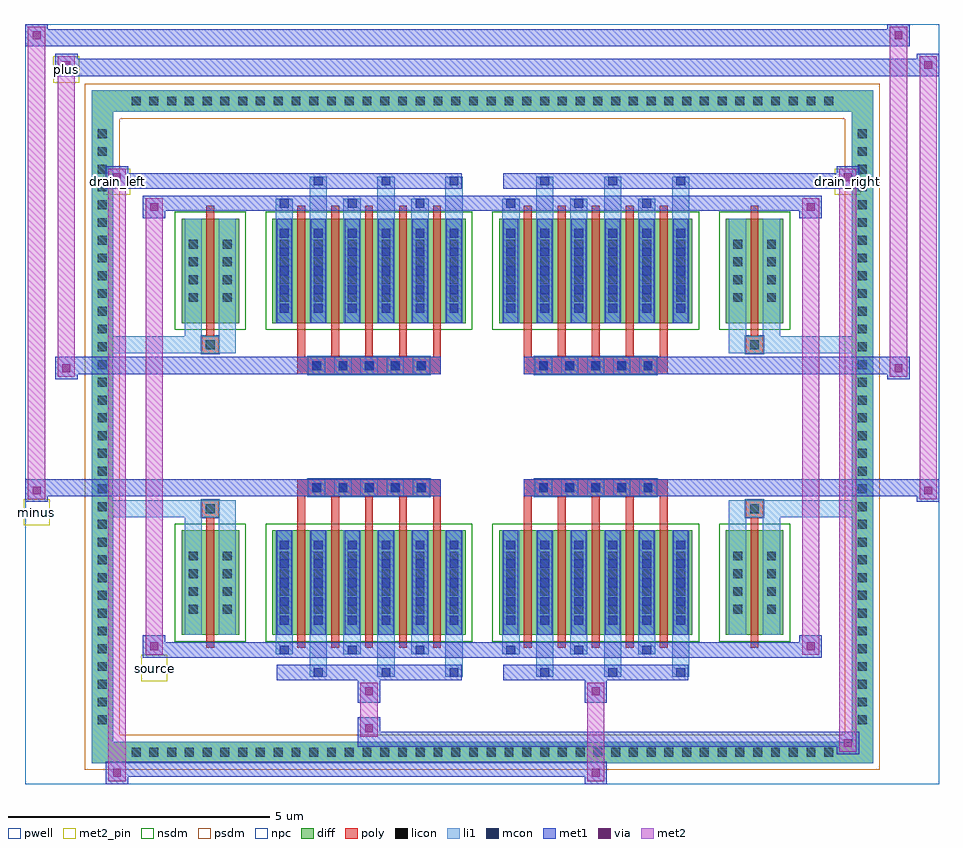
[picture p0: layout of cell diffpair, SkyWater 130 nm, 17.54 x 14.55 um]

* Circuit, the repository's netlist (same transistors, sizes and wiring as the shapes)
* NGSPICE file created from diffpair.ext - technology: sky130A

.subckt diffpair minus drain_right drain_left source plus
X0 drain_left plus source a_n1496_n1288# sky130_fd_pr__nfet_01v8 ad=0.95 pd=4.95 as=0.5 ps=2.5 w=2 l=0.15
X1 a_n1496_n1288# a_n1496_n1288# a_n1496_n1288# a_n1496_n1288# sky130_fd_pr__nfet_01v8 ad=0.95 pd=4.95 as=7.6 ps=39.6 w=2 l=0.15
X2 drain_right minus source a_n1496_n1288# sky130_fd_pr__nfet_01v8 ad=0.5 pd=2.5 as=0.95 ps=4.95 w=2 l=0.15
X3 drain_right minus source a_n1496_n1288# sky130_fd_pr__nfet_01v8 ad=0.95 pd=4.95 as=0.5 ps=2.5 w=2 l=0.15
X4 source plus drain_left a_n1496_n1288# sky130_fd_pr__nfet_01v8 ad=0.5 pd=2.5 as=0.5 ps=2.5 w=2 l=0.15
X5 drain_left plus source a_n1496_n1288# sky130_fd_pr__nfet_01v8 ad=0.5 pd=2.5 as=0.5 ps=2.5 w=2 l=0.15
X6 a_n1496_n1288# a_n1496_n1288# a_n1496_n1288# a_n1496_n1288# sky130_fd_pr__nfet_01v8 ad=0.95 pd=4.95 as=0 ps=0 w=2 l=0.15
X7 a_n1496_n1288# a_n1496_n1288# a_n1496_n1288# a_n1496_n1288# sky130_fd_pr__nfet_01v8 ad=0.95 pd=4.95 as=0 ps=0 w=2 l=0.15
X8 a_n1496_n1288# a_n1496_n1288# a_n1496_n1288# a_n1496_n1288# sky130_fd_pr__nfet_01v8 ad=0.95 pd=4.95 as=0 ps=0 w=2 l=0.15
X9 source minus drain_right a_n1496_n1288# sky130_fd_pr__nfet_01v8 ad=0.5 pd=2.5 as=0.5 ps=2.5 w=2 l=0.15
X10 source minus drain_right a_n1496_n1288# sky130_fd_pr__nfet_01v8 ad=0.5 pd=2.5 as=0.5 ps=2.5 w=2 l=0.15
X11 drain_right minus source a_n1496_n1288# sky130_fd_pr__nfet_01v8 ad=0.5 pd=2.5 as=0.5 ps=2.5 w=2 l=0.15
X12 drain_right minus source a_n1496_n1288# sky130_fd_pr__nfet_01v8 ad=0.5 pd=2.5 as=0.95 ps=4.95 w=2 l=0.15
X13 drain_right minus source a_n1496_n1288# sky130_fd_pr__nfet_01v8 ad=0.95 pd=4.95 as=0.5 ps=2.5 w=2 l=0.15
X14 source minus drain_right a_n1496_n1288# sky130_fd_pr__nfet_01v8 ad=0.5 pd=2.5 as=0.5 ps=2.5 w=2 l=0.15
X15 source minus drain_right a_n1496_n1288# sky130_fd_pr__nfet_01v8 ad=0.5 pd=2.5 as=0.5 ps=2.5 w=2 l=0.15
X16 source plus drain_left a_n1496_n1288# sky130_fd_pr__nfet_01v8 ad=0.5 pd=2.5 as=0.5 ps=2.5 w=2 l=0.15
X17 drain_left plus source a_n1496_n1288# sky130_fd_pr__nfet_01v8 ad=0.95 pd=4.95 as=0.5 ps=2.5 w=2 l=0.15
X18 drain_right minus source a_n1496_n1288# sky130_fd_pr__nfet_01v8 ad=0.5 pd=2.5 as=0.5 ps=2.5 w=2 l=0.15
X19 source plus drain_left a_n1496_n1288# sky130_fd_pr__nfet_01v8 ad=0.5 pd=2.5 as=0.5 ps=2.5 w=2 l=0.15
X20 drain_left plus source a_n1496_n1288# sky130_fd_pr__nfet_01v8 ad=0.5 pd=2.5 as=0.95 ps=4.95 w=2 l=0.15
X21 drain_left plus source a_n1496_n1288# sky130_fd_pr__nfet_01v8 ad=0.5 pd=2.5 as=0.5 ps=2.5 w=2 l=0.15
X22 source plus drain_left a_n1496_n1288# sky130_fd_pr__nfet_01v8 ad=0.5 pd=2.5 as=0.5 ps=2.5 w=2 l=0.15
X23 drain_left plus source a_n1496_n1288# sky130_fd_pr__nfet_01v8 ad=0.5 pd=2.5 as=0.95 ps=4.95 w=2 l=0.15
.ends

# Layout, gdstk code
import gdstk
lib = gdstk.Library(unit=1e-6, precision=5e-09)
def R(c, l, rs):  # rectangles x0, y0, x1, y1
    for r in rs: c.add(gdstk.rectangle(r[:2], r[2:], *l))
def A(c, l, x, y, w, h, nx, ny, dx, dy):  # array of equal rectangles
    R(c, l, [(x+i*dx, y+j*dy, x+i*dx+w, y+j*dy+h) for i in range(nx) for j in range(ny)])
def P(c, l, *ps):  # polygons
    for p in ps: c.add(gdstk.Polygon(p, *l))
pwell = (64, 44)
diff = (65, 20)
poly = (66, 20)
licon = (66, 44)
li1 = (67, 20)
mcon = (67, 44)
met1 = (68, 20)
via = (68, 44)
met2_pin = (69, 16)
met2 = (69, 20)
nsdm = (93, 44)
psdm = (94, 20)
npc = (95, 20)

diffpair = lib.new_cell('diffpair')
R(diffpair, pwell, [(-8.75,-6.84,8.75,7.71), (-6.07,-5.03,-0.01,-0.805), (0.01,-5.03,6.07,-0.805), (-6.07,0.805,-0.01,5.03), (0.01,0.805,6.07,5.03)])
A(diffpair, diff, -6.835, -6.44, 0.41, 0.41, 40, 2, 0.34, 12.47)
A(diffpair, diff, -7.48, -5.815, 0.41, 0.41, 1, 34, 0, 0.34)
A(diffpair, diff, 7.07, -5.815, 0.41, 0.41, 1, 34, 0, 0.34)
R(diffpair, diff, [(-6.835,-6.44,6.835,-6.03), (-7.48,-5.815,-7.07,5.815), (7.07,-5.815,7.48,5.815), (-5.76,-3.985,-4.66,-1.985), (-4.02,-3.985,-0.32,-1.985), (0.32,-3.985,4.02,-1.985), (4.66,-3.985,5.76,-1.985), (-5.76,1.985,-4.66,3.985), (-4.02,1.985,-0.32,3.985), (0.32,1.985,4.02,3.985), (4.66,1.985,5.76,3.985), (-6.835,6.03,6.835,6.44)])
P(diffpair, diff, [(7.48,6.44),(-7.48,6.44),(-7.48,-6.03),(-7.07,-6.03),(-7.07,6.03),(7.07,6.03),(7.07,-6.03),(-7.07,-6.03),(-7.48,-6.03),(-7.48,-6.44),(7.48,-6.44)])
A(diffpair, poly, -3.545, -4.235, 0.15, 2.5, 5, 2, 0.65, 5.97)
A(diffpair, poly, 0.795, -4.235, 0.15, 2.5, 5, 2, 0.65, 5.97)
A(diffpair, poly, -3.545, -1.735, 0.15, 0.4, 5, 2, 0.65, 3.07)
A(diffpair, poly, 0.795, -1.735, 0.15, 0.4, 5, 2, 0.65, 3.07)
A(diffpair, poly, -3.335, -1.335, 0.33, 0.33, 5, 2, 0.5, 2.34)
A(diffpair, poly, 1.005, -1.335, 0.33, 0.33, 5, 2, 0.5, 2.34)
R(diffpair, poly, [(-5.285,-4.235,-5.135,-1.735), (5.135,-4.235,5.285,-1.735), (-5.375,-1.735,-5.045,-1.405), (-5.375,-1.735,-5.045,-1.405), (5.045,-1.735,5.375,-1.405), (5.045,-1.735,5.375,-1.405), (-3.545,-1.335,-0.795,-1.005), (0.795,-1.335,3.545,-1.005), (-3.545,1.005,-0.795,1.335), (0.795,1.005,3.545,1.335), (-5.375,1.405,-5.045,1.735), (-5.375,1.405,-5.045,1.735), (5.045,1.405,5.375,1.735), (5.045,1.405,5.375,1.735), (-5.285,1.735,-5.135,4.235), (5.135,1.735,5.285,4.235)])
A(diffpair, licon, -6.715, -6.32, 0.17, 0.17, 40, 2, 0.34, 12.47)
A(diffpair, licon, -7.36, -5.695, 0.17, 0.17, 1, 34, 0, 0.34)
A(diffpair, licon, 7.19, -5.695, 0.17, 0.17, 1, 34, 0, 0.34)
A(diffpair, licon, -5.62, -3.58, 0.17, 0.17, 1, 4, 0, 0.34)
A(diffpair, licon, -4.97, -3.58, 0.17, 0.17, 1, 4, 0, 0.34)
A(diffpair, licon, -3.88, -3.58, 0.17, 0.17, 6, 4, 0.65, 0.34)
A(diffpair, licon, 0.46, -3.58, 0.17, 0.17, 6, 4, 0.65, 0.34)
A(diffpair, licon, 4.8, -3.58, 0.17, 0.17, 1, 4, 0, 0.34)
A(diffpair, licon, 5.45, -3.58, 0.17, 0.17, 1, 4, 0, 0.34)
A(diffpair, licon, -3.255, -1.255, 0.17, 0.17, 5, 2, 0.5, 2.34)
A(diffpair, licon, 1.085, -1.255, 0.17, 0.17, 5, 2, 0.5, 2.34)
A(diffpair, licon, -5.62, 2.39, 0.17, 0.17, 1, 4, 0, 0.34)
A(diffpair, licon, -4.97, 2.39, 0.17, 0.17, 1, 4, 0, 0.34)
A(diffpair, licon, -3.88, 2.39, 0.17, 0.17, 6, 4, 0.65, 0.34)
A(diffpair, licon, 0.46, 2.39, 0.17, 0.17, 6, 4, 0.65, 0.34)
A(diffpair, licon, 4.8, 2.39, 0.17, 0.17, 1, 4, 0, 0.34)
A(diffpair, licon, 5.45, 2.39, 0.17, 0.17, 1, 4, 0, 0.34)
R(diffpair, licon, [(-5.295,-1.655,-5.125,-1.485), (5.125,-1.655,5.295,-1.485), (-5.295,1.485,-5.125,1.655), (5.125,1.485,5.295,1.655)])
A(diffpair, li1, -6.795, -6.4, 0.33, 0.33, 40, 2, 0.34, 12.47)
A(diffpair, li1, -7.44, -5.775, 0.33, 0.33, 1, 34, 0, 0.34)
A(diffpair, li1, 7.11, -5.775, 0.33, 0.33, 1, 34, 0, 0.34)
A(diffpair, li1, -3.31, -4.79, 0.33, 0.805, 3, 2, 1.3, 8.775)
A(diffpair, li1, -3.23, -4.79, 0.17, 0.17, 3, 2, 1.3, 9.41)
A(diffpair, li1, 1.03, -4.79, 0.33, 0.805, 3, 2, 1.3, 8.775)
A(diffpair, li1, 1.11, -4.79, 0.17, 0.17, 3, 2, 1.3, 9.41)
A(diffpair, li1, -3.96, -4.36, 0.33, 0.375, 3, 2, 1.3, 8.345)
A(diffpair, li1, -3.88, -4.36, 0.17, 0.17, 3, 2, 1.3, 8.55)
A(diffpair, li1, 0.38, -4.36, 0.33, 0.375, 3, 2, 1.3, 8.345)
A(diffpair, li1, 0.46, -4.36, 0.17, 0.17, 3, 2, 1.3, 8.55)
A(diffpair, li1, -3.96, -3.985, 0.33, 2, 6, 2, 0.65, 5.97)
A(diffpair, li1, 0.38, -3.985, 0.33, 2, 6, 2, 0.65, 5.97)
A(diffpair, li1, -3.88, -3.79, 0.17, 0.17, 6, 5, 0.65, 0.36)
A(diffpair, li1, -3.88, -3.79, 0.17, 1.61, 6, 2, 0.65, 5.97)
A(diffpair, li1, 0.46, -3.79, 0.17, 0.17, 6, 5, 0.65, 0.36)
A(diffpair, li1, 0.46, -3.79, 0.17, 1.61, 6, 2, 0.65, 5.97)
A(diffpair, li1, -5.7, -3.66, 0.33, 0.33, 1, 4, 0, 0.34)
A(diffpair, li1, -5.05, -3.66, 0.33, 0.33, 1, 4, 0, 0.34)
A(diffpair, li1, -3.96, -3.66, 0.33, 0.33, 6, 4, 0.65, 0.34)
A(diffpair, li1, 0.38, -3.66, 0.33, 0.33, 6, 4, 0.65, 0.34)
A(diffpair, li1, 4.72, -3.66, 0.33, 0.33, 1, 4, 0, 0.34)
A(diffpair, li1, 5.37, -3.66, 0.33, 0.33, 1, 4, 0, 0.34)
A(diffpair, li1, -3.335, -1.335, 0.33, 0.33, 5, 2, 0.5, 2.34)
A(diffpair, li1, 1.005, -1.335, 0.33, 0.33, 5, 2, 0.5, 2.34)
A(diffpair, li1, -3.88, 2.18, 0.17, 0.17, 6, 5, 0.65, 0.36)
A(diffpair, li1, 0.46, 2.18, 0.17, 0.17, 6, 5, 0.65, 0.36)
A(diffpair, li1, -5.7, 2.31, 0.33, 0.33, 1, 4, 0, 0.34)
A(diffpair, li1, -5.05, 2.31, 0.33, 0.33, 1, 4, 0, 0.34)
A(diffpair, li1, -3.96, 2.31, 0.33, 0.33, 6, 4, 0.65, 0.34)
A(diffpair, li1, 0.38, 2.31, 0.33, 0.33, 6, 4, 0.65, 0.34)
A(diffpair, li1, 4.72, 2.31, 0.33, 0.33, 1, 4, 0, 0.34)
A(diffpair, li1, 5.37, 2.31, 0.33, 0.33, 1, 4, 0, 0.34)
R(diffpair, li1, [(-7.48,-6.44,-7.07,-6.03), (-7.48,-6.44,-7.07,-6.03), (-7.07,-6.44,7.07,-6.03), (7.07,-6.44,7.48,-6.03), (7.07,-6.44,7.48,-6.03), (-7.48,-6.03,-7.07,6.03), (7.07,-6.03,7.48,6.03), (-5.7,-3.985,-5.37,-1.985), (-5.05,-3.985,-4.72,-1.985), (4.72,-3.985,5.05,-1.985), (5.37,-3.985,5.7,-1.985), (-5.7,-1.985,-5.37,-1.405), (-5.05,-1.985,-4.72,-1.405), (4.72,-1.985,5.05,-1.405), (5.37,-1.985,5.7,-1.405), (-7.48,-1.735,-5.375,-1.405), (-5.7,-1.735,-5.375,-1.405), (-5.375,-1.735,-5.045,-1.405), (-5.045,-1.735,-4.72,-1.405), (4.72,-1.735,5.045,-1.405), (5.045,-1.735,5.375,-1.405), (5.045,-1.735,7.48,-1.405), (5.375,-1.735,5.7,-1.405), (-7.48,1.405,-5.375,1.735), (-5.7,1.405,-5.375,1.735), (-5.7,1.405,-5.37,1.985), (-5.375,1.405,-5.045,1.735), (-5.05,1.405,-4.72,1.985), (-5.045,1.405,-4.72,1.735), (4.72,1.405,5.045,1.735), (4.72,1.405,5.05,1.985), (5.045,1.405,5.375,1.735), (5.045,1.405,7.48,1.735), (5.37,1.405,5.7,1.985), (5.375,1.405,5.7,1.735), (-5.7,1.985,-5.37,3.985), (-5.05,1.985,-4.72,3.985), (4.72,1.985,5.05,3.985), (5.37,1.985,5.7,3.985), (-7.48,6.03,-7.07,6.44), (-7.48,6.03,-7.07,6.44), (-7.07,6.03,7.07,6.44), (7.07,6.03,7.48,6.44), (7.07,6.03,7.48,6.44)])
A(diffpair, mcon, -3.23, -4.79, 0.17, 0.17, 3, 2, 1.3, 9.41)
A(diffpair, mcon, 1.11, -4.79, 0.17, 0.17, 3, 2, 1.3, 9.41)
A(diffpair, mcon, -3.88, -4.36, 0.17, 0.17, 3, 2, 1.3, 8.55)
A(diffpair, mcon, 0.46, -4.36, 0.17, 0.17, 3, 2, 1.3, 8.55)
A(diffpair, mcon, -3.88, -3.79, 0.17, 0.17, 6, 5, 0.65, 0.36)
A(diffpair, mcon, 0.46, -3.79, 0.17, 0.17, 6, 5, 0.65, 0.36)
A(diffpair, mcon, -3.255, -1.255, 0.17, 0.17, 5, 2, 0.5, 2.34)
A(diffpair, mcon, 1.085, -1.255, 0.17, 0.17, 5, 2, 0.5, 2.34)
A(diffpair, mcon, -3.88, 2.18, 0.17, 0.17, 6, 5, 0.65, 0.36)
A(diffpair, mcon, 0.46, 2.18, 0.17, 0.17, 6, 5, 0.65, 0.36)
A(diffpair, met1, -3.29, -4.85, 0.29, 0.29, 3, 2, 1.3, 9.41)
A(diffpair, met1, 1.05, -4.85, 0.29, 0.29, 3, 2, 1.3, 9.41)
A(diffpair, met1, -3.94, -4.42, 0.29, 0.29, 3, 2, 1.3, 8.55)
A(diffpair, met1, 0.4, -4.42, 0.29, 0.29, 3, 2, 1.3, 8.55)
A(diffpair, met1, -3.94, -3.985, 0.29, 2, 6, 2, 0.65, 5.97)
A(diffpair, met1, 0.4, -3.985, 0.29, 2, 6, 2, 0.65, 5.97)
A(diffpair, met1, -3.94, -3.85, 0.29, 0.29, 6, 5, 0.65, 0.36)
A(diffpair, met1, 0.4, -3.85, 0.29, 0.29, 6, 5, 0.65, 0.36)
A(diffpair, met1, -3.315, -1.315, 0.29, 0.29, 5, 2, 0.5, 2.34)
A(diffpair, met1, 1.025, -1.315, 0.29, 0.29, 5, 2, 0.5, 2.34)
A(diffpair, met1, -3.94, 2.12, 0.29, 0.29, 6, 5, 0.65, 0.36)
A(diffpair, met1, 0.4, 2.12, 0.29, 0.29, 6, 5, 0.65, 0.36)
R(diffpair, met1, [(-7.21,-6.84,-6.78,-6.41), (1.955,-6.84,2.385,-6.41), (-7.21,-6.7,2.385,-6.41), (6.78,-6.27,7.21,-5.84), (-2.385,-6.13,7.21,-5.84), (-2.385,-5.99,-1.955,-5.56), (-2.385,-5.28,-1.955,-4.85), (1.955,-5.28,2.385,-4.85), (-3.94,-4.85,-0.4,-4.56), (0.4,-4.85,3.94,-4.56), (-6.5,-4.42,-6.07,-3.99), (-6.5,-4.42,-3.94,-4.13), (-3.94,-4.42,-0.4,-4.13), (-0.4,-4.42,0.4,-4.13), (0.4,-4.42,3.94,-4.13), (3.94,-4.42,6.5,-4.13), (6.07,-4.42,6.5,-3.99), (-8.75,-1.435,-8.32,-1.005), (8.32,-1.435,8.75,-1.005), (-8.75,-1.335,-0.795,-1.005), (-3.545,-1.335,-0.795,-1.005), (0.795,-1.335,3.545,-1.005), (0.795,-1.335,8.75,-1.005), (-8.18,0.905,-7.75,1.335), (7.75,0.905,8.18,1.335), (-8.18,1.005,-3.545,1.335), (-3.545,1.005,-0.795,1.335), (0.795,1.005,3.545,1.335), (3.545,1.005,8.18,1.335), (-6.5,3.99,-6.07,4.42), (6.07,3.99,6.5,4.42), (-6.5,4.13,-3.94,4.42), (-3.94,4.13,-0.4,4.42), (-0.4,4.13,0.4,4.42), (0.4,4.13,3.94,4.42), (3.94,4.13,6.5,4.42), (-7.21,4.56,-6.78,4.99), (-7.21,4.56,-3.94,4.85), (-3.94,4.56,-0.4,4.85), (0.4,4.56,3.94,4.85), (3.94,4.56,7.21,4.85), (6.78,4.56,7.21,4.99), (-8.18,6.71,-7.75,7.14), (-8.18,6.71,-6.07,7.04), (-6.07,6.71,6.07,7.04), (6.07,6.71,8.75,7.04), (8.32,6.71,8.75,7.14), (-8.75,7.28,-8.32,7.71), (-8.75,7.28,-6.07,7.61), (-6.07,7.28,6.07,7.61), (6.07,7.28,8.18,7.61), (7.75,7.28,8.18,7.71)])
R(diffpair, via, [(-7.07,-6.7,-6.92,-6.55), (2.095,-6.7,2.245,-6.55), (6.92,-6.13,7.07,-5.98), (-2.245,-5.85,-2.095,-5.7), (-2.245,-5.14,-2.095,-4.99), (2.095,-5.14,2.245,-4.99), (-6.36,-4.28,-6.21,-4.13), (6.21,-4.28,6.36,-4.13), (-8.61,-1.295,-8.46,-1.145), (8.46,-1.295,8.61,-1.145), (-8.04,1.045,-7.89,1.195), (7.89,1.045,8.04,1.195), (-6.36,4.13,-6.21,4.28), (6.21,4.13,6.36,4.28), (-7.07,4.7,-6.92,4.85), (6.92,4.7,7.07,4.85), (-8.04,6.85,-7.89,7), (8.46,6.85,8.61,7), (-8.61,7.42,-8.46,7.57), (7.89,7.42,8.04,7.57)])
R(diffpair, met2_pin, [(-6.535,-4.87,-6.035,-4.37), (-8.785,-1.885,-8.285,-1.385), (-7.245,4.44,-6.745,4.94), (6.745,4.44,7.245,4.94), (-8.215,6.59,-7.715,7.09)])
R(diffpair, met2, [(-7.16,-6.79,-6.83,-6.46), (-7.16,-6.79,-6.83,4.94), (2.005,-6.79,2.335,-6.46), (2.005,-6.46,2.335,-5.23), (6.83,-6.22,7.16,-5.89), (6.83,-6.22,7.16,4.94), (-2.335,-5.94,-2.005,-5.61), (-2.335,-5.61,-2.005,-5.23), (-2.335,-5.23,-2.005,-4.9), (2.005,-5.23,2.335,-4.9), (-6.45,-4.37,-6.12,-4.04), (-6.45,-4.37,-6.12,4.37), (6.12,-4.37,6.45,-4.04), (6.12,-4.37,6.45,4.37), (-8.7,-1.385,-8.37,-1.055), (-8.7,-1.385,-8.37,7.66), (8.37,-1.385,8.7,-1.055), (8.37,-1.385,8.7,7.09), (-8.13,0.955,-7.8,1.285), (-8.13,0.955,-7.8,7.09), (7.8,0.955,8.13,1.285), (7.8,0.955,8.13,7.66), (-6.45,4.04,-6.12,4.37), (6.12,4.04,6.45,4.37), (-7.16,4.61,-6.83,4.94), (6.83,4.61,7.16,4.94), (-8.13,6.76,-7.8,7.09), (8.37,6.76,8.7,7.09), (-8.7,7.33,-8.37,7.66), (7.8,7.33,8.13,7.66)])
P(diffpair, met2, [(8.7,-1.385),(8.7,-1.385),(8.7,-1.055),(8.7,-1.055)],
  [(8.7,6.76),(8.7,6.76),(8.7,7.09),(8.7,7.09)],
  [(-8.37,-1.385),(-8.37,-1.385),(-8.37,-1.055),(-8.37,-1.055)],
  [(-8.37,7.33),(-8.37,7.33),(-8.37,7.66),(-8.37,7.66)],
  [(8.13,0.955),(8.13,0.955),(8.13,1.285),(8.13,1.285)],
  [(8.13,7.33),(8.13,7.33),(8.13,7.66),(8.13,7.66)],
  [(-7.8,0.955),(-7.8,0.955),(-7.8,1.285),(-7.8,1.285)],
  [(-7.8,6.76),(-7.8,6.76),(-7.8,7.09),(-7.8,7.09)],
  [(-6.83,-6.79),(-6.83,-6.79),(-6.83,-6.46),(-6.83,-6.46)],
  [(-6.83,4.61),(-6.83,4.61),(-6.83,4.94),(-6.83,4.94)],
  [(7.16,-6.22),(7.16,-6.22),(7.16,-5.89),(7.16,-5.89)],
  [(7.16,4.61),(7.16,4.61),(7.16,4.94),(7.16,4.94)],
  [(-6.12,-4.37),(-6.12,-4.37),(-6.12,-4.04),(-6.12,-4.04)],
  [(-6.12,4.04),(-6.12,4.04),(-6.12,4.37),(-6.12,4.37)],
  [(6.45,-4.37),(6.45,-4.37),(6.45,-4.04),(6.45,-4.04)],
  [(6.45,4.04),(6.45,4.04),(6.45,4.37),(6.45,4.37)])
R(diffpair, nsdm, [(-5.89,-4.115,-4.53,-1.855), (-4.15,-4.115,-0.19,-1.855), (0.19,-4.115,4.15,-1.855), (4.53,-4.115,5.89,-1.855), (-5.89,1.855,-4.53,4.115), (-4.15,1.855,-0.19,4.115), (0.19,1.855,4.15,4.115), (4.53,1.855,5.89,4.115)])
P(diffpair, psdm, [(7.61,6.57),(-7.61,6.57),(-7.61,-5.9),(-6.94,-5.9),(-6.94,5.9),(6.94,5.9),(6.94,-5.9),(-6.94,-5.9),(-7.61,-5.9),(-7.61,-6.57),(7.61,-6.57)])
A(diffpair, npc, -3.355, -1.355, 0.37, 0.37, 5, 2, 0.5, 2.34)
A(diffpair, npc, 0.985, -1.355, 0.37, 0.37, 5, 2, 0.5, 2.34)
R(diffpair, npc, [(-5.395,-1.755,-5.025,-1.385), (5.025,-1.755,5.395,-1.385), (-3.355,-1.355,-2.485,-0.985), (-3.355,-1.355,-2.485,-0.985), (-2.855,-1.355,-1.985,-0.985), (-2.855,-1.355,-1.985,-0.985), (-2.355,-1.355,-1.485,-0.985), (-2.355,-1.355,-1.485,-0.985), (-1.855,-1.355,-0.985,-0.985), (-1.855,-1.355,-0.985,-0.985), (0.985,-1.355,1.855,-0.985), (0.985,-1.355,1.855,-0.985), (1.485,-1.355,2.355,-0.985), (1.485,-1.355,2.355,-0.985), (1.985,-1.355,2.855,-0.985), (1.985,-1.355,2.855,-0.985), (2.485,-1.355,3.355,-0.985), (2.485,-1.355,3.355,-0.985), (-3.355,0.985,-2.485,1.355), (-3.355,0.985,-2.485,1.355), (-2.855,0.985,-1.985,1.355), (-2.855,0.985,-1.985,1.355), (-2.355,0.985,-1.485,1.355), (-2.355,0.985,-1.485,1.355), (-1.855,0.985,-0.985,1.355), (-1.855,0.985,-0.985,1.355), (0.985,0.985,1.855,1.355), (0.985,0.985,1.855,1.355), (1.485,0.985,2.355,1.355), (1.485,0.985,2.355,1.355), (1.985,0.985,2.855,1.355), (1.985,0.985,2.855,1.355), (2.485,0.985,3.355,1.355), (2.485,0.985,3.355,1.355), (-5.395,1.385,-5.025,1.755), (5.025,1.385,5.395,1.755)])
diffpair.add(gdstk.Label('minus', (-8.535,-1.635), layer=69, texttype=5))
diffpair.add(gdstk.Label('drain_right', (6.995,4.69), layer=69, texttype=5))
diffpair.add(gdstk.Label('drain_left', (-6.995,4.69), layer=69, texttype=5))
diffpair.add(gdstk.Label('source', (-6.285,-4.62), layer=69, texttype=5))
diffpair.add(gdstk.Label('plus', (-7.965,6.84), layer=69, texttype=5))

lib.write_gds('diffpair.gds')
